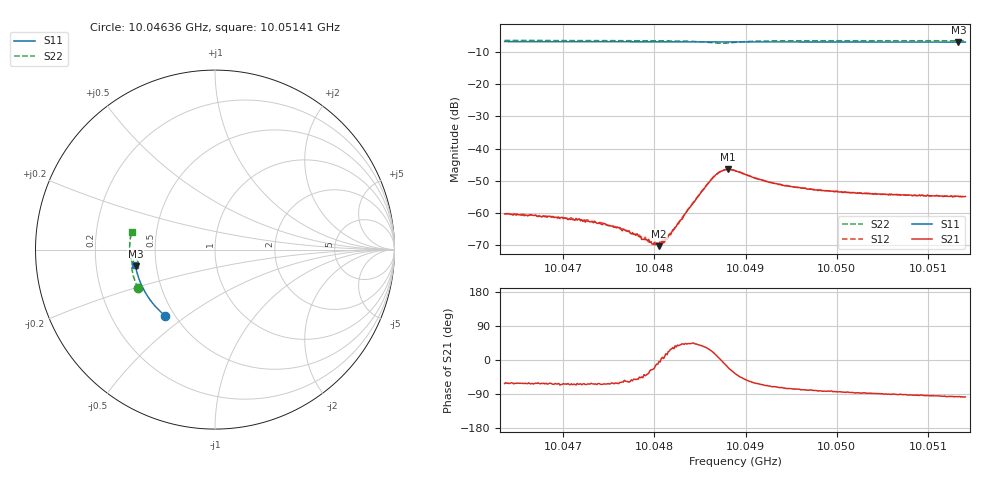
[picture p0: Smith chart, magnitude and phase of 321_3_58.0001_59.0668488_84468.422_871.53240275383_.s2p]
#  HZ  S  RI  R  50.00
! Rohde & Schwarz Vector Network Analyzer
! Rohde-Schwarz,ZNB20-2Port,1311601062101988,3.16
! Created: UTC 3/21/2024, 1:04:43 AM
! freq[Hz]  re:S11  im:S11  re:S21  im:S21  re:S12  im:S12  re:S22  im:S22
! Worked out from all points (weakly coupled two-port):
!   401 points, 10.04636 GHz to 10.05141 GHz, reference 50 ohm
!   highest |S21| = -46.51 dB at 10.04881 GHz (marker M1); lowest = -70.4 dB at 10.04805 GHz (marker M2)
!   lowest |S11| = -6.9 dB at 10.05133 GHz (marker M3), VSWR 2.65, Z = 19 - j4.45 ohm
!   |S11| at or under -10 dB: nowhere
!   |S22| runs from -7.2 to -6.4 dB; largest |S21 - S12| = 0.00033
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1.0046356e10  -0.2779 -0.3681  0.00045 -0.000849  0.000536 -0.00079  -0.4294 -0.2153
1.004676e10  -0.2983 -0.3507  0.000413 -0.000753  0.00047 -0.000776  -0.4401 -0.1904
1.0047202e10  -0.3193 -0.3304  0.000327 -0.000711  0.000398 -0.000663  -0.4502 -0.1621
1.004743e10  -0.3295 -0.3194  0.000287 -0.000589  0.000356 -0.000586  -0.4549 -0.1468
1.0047493e10  -0.3323 -0.3163  0.000293 -0.000559  0.000338 -0.000537  -0.4559 -0.1426
1.0047582e10  -0.3361 -0.3121  0.000281 -0.000514  0.000344 -0.000496  -0.4576 -0.1366
1.0047784e10  -0.3448 -0.3018  0.000292 -0.000359  0.000315 -0.000336  -0.4607 -0.1222
1.0047948e10  -0.3516 -0.2932  0.000303 -0.000166  0.000324 -0.000167  -0.4626 -0.11
1.0047986e10  -0.3531 -0.2914  0.000296 -0.000132  0.000335 -0.000114  -0.4629 -0.1071
1.0048049e10  -0.3556 -0.2881  0.000302 -2.02e-05  0.000339 -2.23e-05  -0.4633 -0.1022
1.0048125e10  -0.3586 -0.284  0.00039 0.000116  0.000363 0.000135  -0.4637 -0.0962
1.0048176e10  -0.3607 -0.2813  0.000401 0.000214  0.000421 0.000233  -0.4636 -0.0919
1.0048517e10  -0.3735 -0.2629  0.00169 0.00131  0.00163 0.00142  -0.4534 -0.061
1.004863e10  -0.3774 -0.2564  0.00309 0.00132  0.00308 0.00148  -0.4406 -0.056
1.0048719e10  -0.3804 -0.2517  0.00435 0.000176  0.00436 0.000451  -0.4311 -0.0624
1.0048807e10  -0.3833 -0.2469  0.00445 -0.00159  0.00455 -0.00132  -0.433 -0.0741
1.0048883e10  -0.386 -0.2427  0.00369 -0.00263  0.00385 -0.00243  -0.4424 -0.0782
1.0049275e10  -0.3986 -0.2204  0.00105 -0.00276  0.00122 -0.00272  -0.4696 -0.0503
1.004973e10  -0.4115 -0.1934  0.000404 -0.00228  0.000541 -0.00225  -0.4753 -0.0149
1.0050577e10  -0.4309 -0.1413  -7.7e-08 -0.00192  0.000118 -0.00196  -0.4739 0.0442
1.0051335e10  -0.4427 -0.093  -0.000201 -0.00179  -0.000104 -0.00179  -0.4662 0.0942
1.0051411e10  -0.4437 -0.0882  -0.000228 -0.00178  -0.000125 -0.00178  -0.4651 0.099
